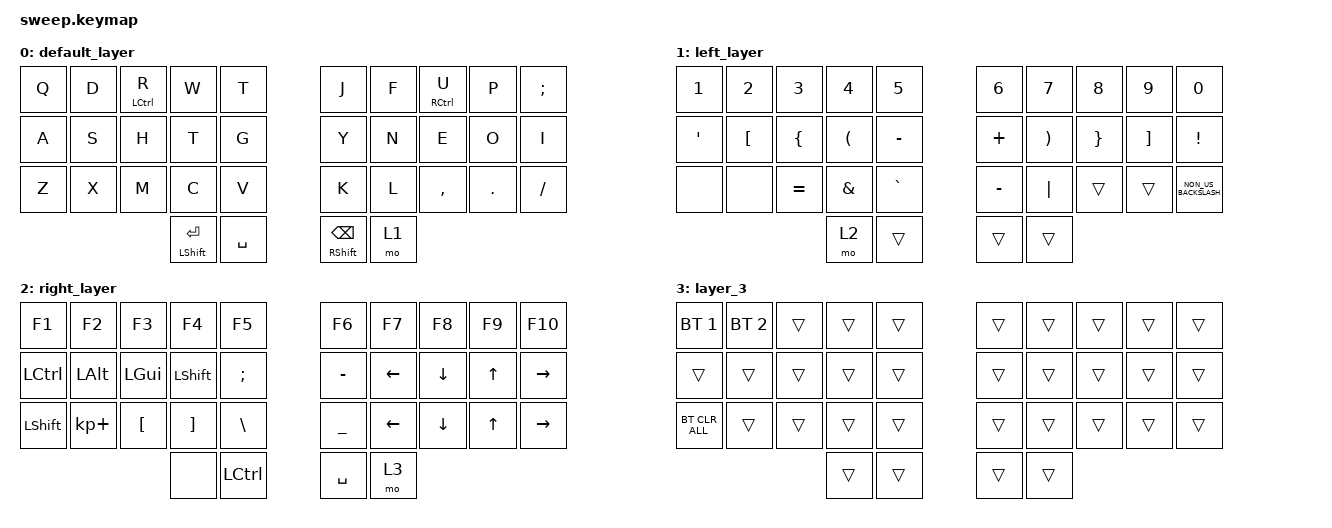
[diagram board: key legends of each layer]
/*
 * Copyright (c) 2022 The ZMK Contributors
 *
 * SPDX-License-Identifier: MIT
 */

#include <behaviors.dtsi>
#include <dt-bindings/zmk/keys.h>

&mt {
    //  flavor = "tap-preferred";
    // tapping-term-ms = <200>;
};

/ {
    combos {
        compatible = "zmk,combos";

        combo_esc {
            timeout-ms = <50>;
            key-positions = <3 2>;
            bindings = <&kp ESC>;
        };

        combo_tab {
            timeout-ms = <50>;
            key-positions = <21 22>;
            bindings = <&kp TAB>;
        };
    };

    keymap {
        compatible = "zmk,keymap";

        default_layer {
            bindings = <
&kp Q                 &kp D      &mt LEFT_CONTROL R  &kp W  &kp T    &kp J  &kp F  &mt RIGHT_CONTROL U  &kp P                      &kp SEMICOLON
&kp A                 &kp S      &kp H               &kp T  &kp G    &kp Y  &kp N  &kp E                &kp O                      &kp I
&kp Z                 &kp X      &kp M               &kp C  &kp V    &kp K  &kp L  &kp COMMA            &kp PERIOD                 &kp SLASH
&mt LEFT_SHIFT ENTER  &kp SPACE                                                                         &mt RIGHT_SHIFT BACKSPACE  &mo 1
            >;
        };

        left_layer {
            bindings = <
&kp N1   &kp N2            &kp N3          &kp N4                &kp N5       &kp N6     &kp N7                 &kp N8           &kp N9             &kp N0
&kp SQT  &kp LEFT_BRACKET  &kp LEFT_BRACE  &kp LEFT_PARENTHESIS  &kp MINUS    &kp PLUS   &kp RIGHT_PARENTHESIS  &kp RIGHT_BRACE  &kp RIGHT_BRACKET  &kp EXCLAMATION
&none    &none             &kp EQUAL       &kp AMPERSAND         &kp GRAVE    &kp MINUS  &kp PIPE               &trans           &trans             &kp NON_US_BACKSLASH
&mo 2    &trans                                                                                                                  &trans             &trans
            >;
        };

        right_layer {
            bindings = <
&kp F1     &kp F2       &kp F3    &kp F4     &kp F5      &kp F6     &kp F7    &kp F8    &kp F9        &kp F10
&kp LCTRL  &kp LALT     &kp LGUI  &kp LSHFT  &kp SEMI    &kp MINUS  &kp LEFT  &kp DOWN  &kp UP_ARROW  &kp RIGHT
&kp LSHFT  &kp KP_PLUS  &kp LBKT  &kp RBKT   &kp BSLH    &kp UNDER  &kp LEFT  &kp DOWN  &kp UP        &kp RIGHT
&none      &kp LCTRL                                                                    &kp SPACE     &mo 3
            >;
        };

        layer_3 {
            bindings = <
&bt BT_SEL 1    &bt BT_SEL 2  &trans  &trans  &trans    &trans  &trans  &trans  &trans  &trans
&trans          &trans        &trans  &trans  &trans    &trans  &trans  &trans  &trans  &trans
&bt BT_CLR_ALL  &trans        &trans  &trans  &trans    &trans  &trans  &trans  &trans  &trans
&trans          &trans                                                          &trans  &trans
            >;
        };
    };
};
